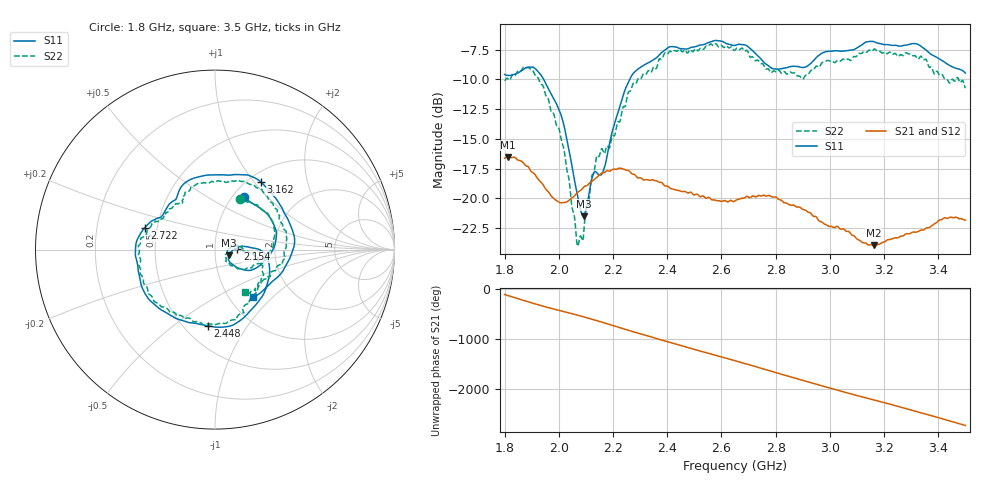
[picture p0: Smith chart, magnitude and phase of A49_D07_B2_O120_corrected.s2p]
! Created with skrf 1.9.0 (http://scikit-rf.org).
# Hz S RI R 50.0
!freq ReS11 ImS11 ReS21 ImS21 ReS12 ImS12 ReS22 ImS22
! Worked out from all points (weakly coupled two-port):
!   1601 points, 1.8 GHz to 3.5 GHz, reference 50 ohm
!   highest |S21| = -16.51 dB at 1.812 GHz (marker M1); lowest = -24.0 dB at 3.162 GHz (marker M2)
!   lowest |S11| = -21.5 dB at 2.091 GHz (marker M3), VSWR 1.18, Z = 58.3 - j3.68 ohm
!   |S11| at or under -10 dB: 1.944 GHz to 2.261 GHz (317 MHz wide, 15.1 % of centre)
!   |S22| runs from -24.0 to -7.0 dB; largest |S21 - S12| = 0.0028
!   S11 on the Smith chart (normalised r, x): 1.8 GHz: 1.13, +0.74; 2.154 GHz: 1.29, +0.01; 2.448 GHz: 0.65, -0.67; 2.722 GHz: 0.43, +0.12; 3.162 GHz: 1.14, +1.08; 3.5 GHz: 1.28, -0.76
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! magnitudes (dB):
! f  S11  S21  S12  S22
! 1.8 GHz  -9.6  -16.6  -16.6  -10.1
! 1.812 GHz  -9.7  -16.5  -16.5  -9.9
! 1.883 GHz  -9.0  -17.3  -17.3  -9.0
! 1.941 GHz  -9.9  -18.8  -18.8  -10.5
! 2.013 GHz  -13.3  -20.4  -20.4  -15.4
! 2.067 GHz  -19.5  -19.6  -19.6  -23.8
! 2.084 GHz  -21.2  -19.3  -19.2  -23.3
! 2.091 GHz  -21.5  -19.1  -19.1  -23.1
! 2.127 GHz  -17.9  -18.5  -18.5  -18.0
! 2.154 GHz  -18.0  -17.9  -18.0  -16.1
! 2.189 GHz  -15.2  -17.7  -17.7  -15.6
! 2.259 GHz  -10.1  -17.7  -17.7  -11.0
! 2.367 GHz  -8.0  -18.6  -18.6  -8.5
! 2.448 GHz  -7.4  -19.4  -19.4  -7.5
! 2.65 GHz  -7.1  -20.2  -20.2  -7.5
! 2.722 GHz  -7.7  -19.8  -19.8  -8.3
! 2.795 GHz  -9.1  -19.9  -19.9  -9.3
! 2.934 GHz  -8.6  -21.4  -21.4  -9.2
! 3.162 GHz  -6.8  -24.0  -23.9  -7.5
! 3.217 GHz  -7.1  -23.5  -23.4  -7.7
! 3.323 GHz  -7.0  -22.8  -22.8  -8.2
! 3.5 GHz  -9.5  -21.8  -21.8  -10.7
